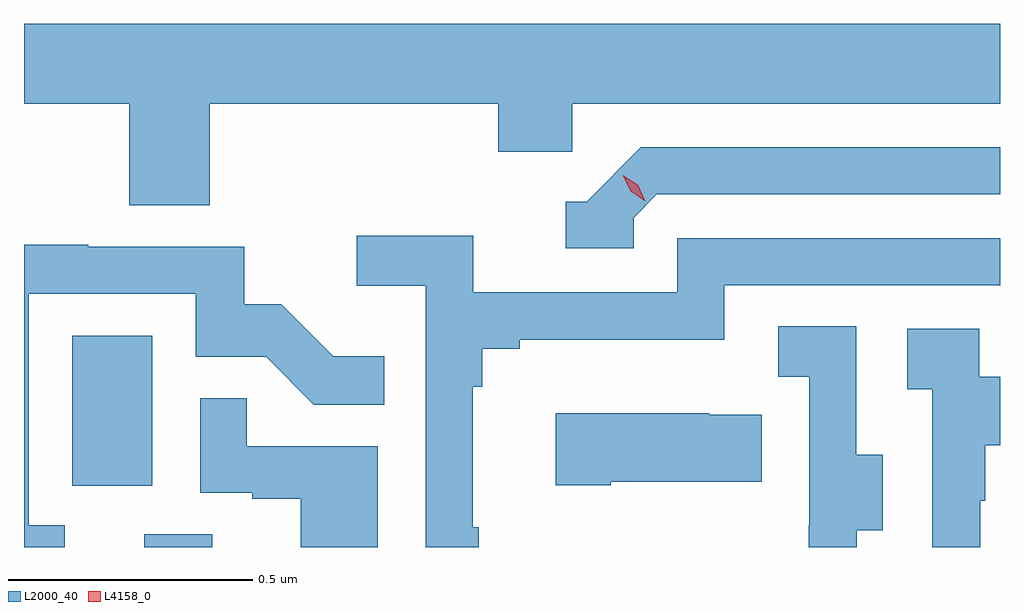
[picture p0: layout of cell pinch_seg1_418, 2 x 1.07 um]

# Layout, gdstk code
import gdstk
lib = gdstk.Library(unit=1e-6, precision=1e-09)
def R(c, l, rs):  # rectangles x0, y0, x1, y1
    for r in rs: c.add(gdstk.rectangle(r[:2], r[2:], *l))
def P(c, l, *ps):  # polygons
    for p in ps: c.add(gdstk.Polygon(p, *l))
L2000_40 = (2000, 40)
L4158_0 = (4158, 0)

pinch_seg1_418 = lib.new_cell('pinch_seg1_418')
R(pinch_seg1_418, L2000_40, [(945.353,537.504,945.493,537.53), (945.206,537.63,945.37,537.937)])
P(pinch_seg1_418, L2000_40, [(945.488,538.412),(946.079,538.412),(946.079,538.314),(946.23,538.314),(946.23,538.412),(947.107,538.412),(947.107,538.576),(945.107,538.576),(945.107,538.412),(945.323,538.412),(945.323,538.204),(945.488,538.204)],
  [(946.356,538.179),(946.404,538.227),(947.107,538.227),(947.107,538.323),(946.371,538.323),(946.26,538.212),(946.217,538.212),(946.217,538.116),(946.356,538.116)],
  [(946.039,537.545),(946.027,537.545),(946.027,537.833),(946.046,537.833),(946.046,537.91),(946.123,537.91),(946.123,537.929),(946.542,537.929),(946.542,538.041),(947.106,538.041),(947.107,538.04),(947.107,538.137),(946.446,538.137),(946.446,538.026),(946.028,538.026),(946.028,538.142),(945.789,538.142),(945.789,538.04),(945.93,538.04),(945.93,537.504),(946.039,537.504)],
  [(945.19,537.549),(945.117,537.549),(945.117,538.023),(945.459,538.023),(945.459,537.894),(945.603,537.894),(945.701,537.796),(945.845,537.796),(945.845,537.895),(945.741,537.895),(945.634,538.002),(945.558,538.002),(945.558,538.119),(945.239,538.119),(945.239,538.124),(945.107,538.124),(945.107,537.504),(945.19,537.504)],
  [(946.813,537.538),(946.867,537.538),(946.867,537.693),(946.812,537.693),(946.812,537.956),(946.653,537.956),(946.653,537.853),(946.716,537.853),(946.716,537.549),(946.715,537.549),(946.715,537.504),(946.813,537.504)],
  [(947.067,537.599),(947.077,537.599),(947.077,537.713),(947.107,537.713),(947.107,537.853),(947.064,537.853),(947.064,537.951),(946.917,537.951),(946.917,537.827),(946.968,537.827),(946.968,537.504),(947.067,537.504)],
  [(945.832,537.711),(945.563,537.711),(945.563,537.809),(945.468,537.809),(945.468,537.615),(945.575,537.615),(945.575,537.603),(945.674,537.603),(945.674,537.504),(945.832,537.504)],
  [(946.309,537.638),(946.619,537.638),(946.619,537.775),(946.511,537.775),(946.511,537.778),(946.197,537.778),(946.197,537.631),(946.309,537.631)])
P(pinch_seg1_418, L4158_0, [(946.38,538.213),(946.35,538.233),(946.334,538.266),(946.334,538.266),(946.334,538.266),(946.365,538.246),(946.38,538.213),(946.38,538.213)])

lib.write_gds('pinch_seg1_418.gds')
